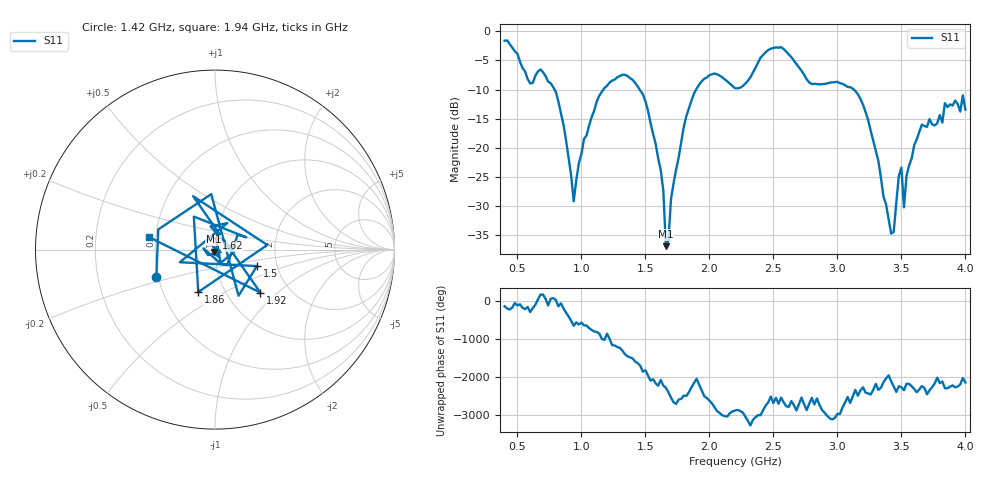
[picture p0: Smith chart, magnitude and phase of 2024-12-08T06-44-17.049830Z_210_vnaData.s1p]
!Created with skrf (http://scikit-rf.org).
# Hz S RI R 50.0
!freq ReS11 ImS11
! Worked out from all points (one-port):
!   181 points, 400 MHz to 4 GHz, reference 50 ohm
!   lowest |S11| = -37.0 dB at 1.66 GHz (marker M1), VSWR 1.03, Z = 49.3 - j1.22 ohm
!   |S11| at or under -10 dB: 790.1 MHz to 1.172 GHz (381.6 MHz wide, 38.9 % of centre); 1.455 GHz to 1.896 GHz (441.6 MHz wide, 26.4 % of centre); 3.128 GHz to end of sweep
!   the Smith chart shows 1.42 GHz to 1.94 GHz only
!   S11 on the Smith chart (normalised r, x): 1.42 GHz: 0.49, -0.17; 1.5 GHz: 1.57, -0.31; 1.62 GHz: 1.01, +0.13; 1.86 GHz: 0.75, -0.38; 1.92 GHz: 1.43, -0.78; 1.94 GHz: 0.46, +0.07
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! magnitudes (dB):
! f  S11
! 400 MHz  -1.6
! 600 MHz  -9.0
! 700 MHz  -7.0
! 860 MHz  -16.1
! 940 MHz  -29.3
! 1.02 GHz  -18.5
! 1.12 GHz  -12.0
! 1.3 GHz  -7.7
! 1.42 GHz  -8.9
! 1.5 GHz  -12.0
! 1.62 GHz  -23.9
! 1.66 GHz  -37.0
! 1.76 GHz  -21.7
! 1.86 GHz  -11.9
! 1.92 GHz  -9.2
! 1.94 GHz  -8.6
! 2.2 GHz  -9.8
! 2.48 GHz  -3.0
! 2.66 GHz  -5.0
! 3.1 GHz  -9.6
! 3.24 GHz  -15.2
! 3.42 GHz  -34.8
! 3.48 GHz  -24.8
! 3.5 GHz  -23.4
! 3.52 GHz  -30.3
! 3.56 GHz  -23.1
! 3.66 GHz  -16.0
! 4 GHz  -13.5
